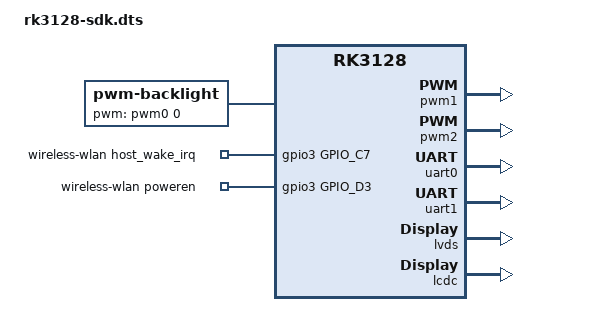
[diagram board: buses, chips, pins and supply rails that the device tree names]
/dts-v1/;

#include "rk3128.dtsi"
#include "rk3128-cif-sensor.dtsi"
#include "rk312x-sdk.dtsi"
#include "lcd-86v-rgb1024x600.dtsi"

/ {
	 compatible = "rockchip,rk3128";
        backlight: backlight {
                compatible = "pwm-backlight";
                pwms = <&pwm0 0 25000>;
                brightness-levels = <128 129 130 131 132 133 134 135 136 137 138 139 140 141 142 143 144 145 146 147 148 149 150 151 152 153 154 155 156 157 158 159 160 161 162 163 164 165 166 167 168 169 170 171 172 173 174 175 176 177 178 179 180 181 182 183 184 185 186 187 188 189 190 191 192 193 194 195 196 197 198 199 200 201 202 203 204 205 206 207 208 209 210 211 212 213 214 215 216 217 218 219 220 221 222 223 224 225 226 227 228 229 230 231 232 233 234 235 236 237 238 239 240 241 242 243 244 245 246 247 248 249 250 251 252 253 254 255>;
                default-brightness-level = <254>;
              //  enable-gpios = <&gpio0 GPIO_D2 GPIO_ACTIVE_HIGH>;
        };

	usb_control {
		compatible = "rockchip,rk3126-usb-control";

		//host_drv_gpio = <&gpio3 GPIO_C4 GPIO_ACTIVE_LOW>;
		//otg_drv_gpio = <&gpio3 GPIO_C1 GPIO_ACTIVE_LOW>;

		rockchip,remote_wakeup;
		rockchip,usb_irq_wakeup;
	};
	wireless-wlan {
		compatible = "wlan-platdata";

		/* wifi_chip_type - wifi chip define
                 * ap6210, ap6330, ap6335
                 * rtl8188eu, rtl8723bs, rtl8723bu rtl8189fs
                 * esp8089
		*/
		wifi_chip_type = "rtl8189fs";
		sdio_vref = <3300>; //1800mv or 3300mv

		//	power_ctrl_by_pmu;
		// 	pmu_regulator = "act_ldo3";
		// 	pmu_enable_level = <1>; //1->HIGH, 0->LOW
		/* WIFI_HOST_WAKE = GPIO3_C7 */
		WIFI,host_wake_irq = <&gpio3 GPIO_C7 GPIO_ACTIVE_HIGH>;
		/* WIFI_REG_ON 	= GPIO3_D3 */
		WIFI,poweren_gpio  = <&gpio3 GPIO_D3 GPIO_ACTIVE_HIGH>;

		status = "okay";
	};
	wireless-bluetooth {
		compatible = "bluetooth-platdata";

		//wifi-bt-power-toggle;

		uart_rts_gpios = <&gpio0 GPIO_C1 GPIO_ACTIVE_LOW>;
		pinctrl-names = "default","rts_gpio";
		pinctrl-0 = <&uart0_rts>;
		pinctrl-1 = <&uart0_rts_gpio>;


		/* BT_HOST_WAKE = GPIO3_C6 */
		/* BT_RST 		= GPIO3_C5 */
		/* BT_WAKE 		= GPIO3_D2 */
		//BT,power_gpio = <&gpio4 GPIO_D3 GPIO_ACTIVE_HIGH>;
		BT,reset_gpio = <&gpio3 GPIO_C5 GPIO_ACTIVE_HIGH>;
		//BT,wake_gpio = <&gpio3 GPIO_D2 GPIO_ACTIVE_HIGH>;
		BT,wake_host_irq = <&gpio3 GPIO_C6 GPIO_ACTIVE_LOW>;

		status = "disabled";
	};
	
		

	rockchip_suspend: rockchip_suspend {
                           rockchip,ctrbits = <
                           (0
                           |RKPM_CTR_PWR_DMNS
                           |RKPM_CTR_GTCLKS
                           |RKPM_CTR_PLLS
                          |RKPM_CTR_ARMOFF_LPMD
                         |RKPM_CTR_IDLESRAM_MD
                           |RKPM_CTR_DDR
                          |RKPM_CTR_VOLTS
                           |RKPM_CTR_BUS_IDLE
                   //        |RKPM_CTR_VOL_PWM1
                           )
                   >;
          rockchip,pmic-suspend_gpios = <0>;//GPIO3_C1
     };
     
	pwmleds {
		compatible = "pwm-leds";
		green_gpio = <&gpio0 GPIO_D4 GPIO_ACTIVE_HIGH>;
		blue_gpio = <&gpio0 GPIO_D3 GPIO_ACTIVE_HIGH>;
		red_gpio = <&gpio2 GPIO_D1 GPIO_ACTIVE_HIGH>;
		
	};
};



&pwm1 {
  status = "okay";
};

&pwm2 {
  status = "okay";
};

&uart0 {
        status = "okay";
        dma-names = "!tx", "!rx";
        pinctrl-0 = <&uart0_xfer>;
};

&uart1{
	status = "okay";
	dma-names = "!tx", "!rx";
	pinctrl-0 = <&uart1_xfer>;
};




&fb {
	rockchip,disp-mode = <NO_DUAL>;
	rockchip,uboot-logo-on = <1>;
};

&rk_screen {
	display-timings = <&disp_timings>;
};

&lvds {
	status = "okay";

	pinctrl-names = "lcdc";
	pinctrl-0 = <&lcdc0_lcdc_d>;
};

&lcdc {
	status = "okay";

	backlight = <&backlight>;
	pinctrl-names = "default", "gpio";
	pinctrl-0 = <&lcdc0_lcdc>;
	pinctrl-1 = <&lcdc0_gpio>;
  cs-gpio = <&gpio1 GPIO_B3 GPIO_ACTIVE_HIGH>;
  sdi-gpio = <&gpio1 GPIO_B1 GPIO_ACTIVE_HIGH>;
  scl-gpio = <&gpio1 GPIO_B0 GPIO_ACTIVE_HIGH>;
	rst-gpio = <&gpio0 GPIO_D0 GPIO_ACTIVE_HIGH>;
	
	rockchip,fb-win-map = <FB_DEFAULT_ORDER>;
	power_ctr: power_ctr {
		rockchip,debug = <1>;
		
		lcd_cs: lcd_cs {
			rockchip,power_type = <REGULATOR>;
			rockchip,regulator_name = "rk816_ldo1";
			rockchip,regulator_voltage = <2800000>;
			rockchip,delay = <10>;
		};
	
		lcd_en: lcd_en {
			rockchip,power_type = <GPIO>;
			gpios = <&gpio2 GPIO_B3 GPIO_ACTIVE_HIGH>;
			rockchip,delay = <10>;
		};	
	};
};

&hdmi {
        status = "disabled";
};


&dwc_control_usb {
	usb_uart {
		status = "disabled";
	};
};

&pinctrl {
		init-gpios = <&gpio0 GPIO_B5 1/*13 auxin_en*/
		&gpio3 GPIO_C5 1/*117 music led*/
		&gpio3 GPIO_D2 0/*122 laohu*/
		/*&gpio1 GPIO_A7 1spk*/
		&gpio1 GPIO_B1 0
		&gpio1 GPIO_B0 0
		&gpio1 GPIO_B3 0
		&gpio0 GPIO_D0 1
		&gpio2 GPIO_D1 1/*89 LED*/
		&gpio0 GPIO_D3 1/*27 LED*/
		&gpio0 GPIO_D4 1/*28 LED*/
		&gpio0 GPIO_D6 0/*30 CTL_1 CODEC*/
		&gpio1 GPIO_A3 0/* 35 CTL_2 CODEC*/
		&gpio3 GPIO_C4 1 /* 116 hp con*/
		&gpio0 GPIO_B6 GPIO_ACTIVE_HIGH>;
};


&codec {
	spk_ctl_io = <&gpio1 GPIO_A7 GPIO_ACTIVE_HIGH>;
	hp_ctl_io  = <&gpio3 GPIO_C4 GPIO_ACTIVE_HIGH>;
        spk-mute-delay = <50>;
        hp-mute-delay = <10>;
        rk312x_for_mid = <1>;
        is_rk3128 = <1>;
        spk_volume = <26>;
        hp_volume = <26>;
        capture_volume = <23>;
        gpio_debug = <1>;
        codec_hp_det = <1>;
};

&rk3128_cif_sensor{
	status = "disabled";
};


&clk_core_dvfs_table {
	operating-points = <
		/* KHz    uV */
		216000 925000
		408000 925000
		600000 950000
		696000 975000
		816000 1050000
		1008000 1250000
		1200000 1250000
	//	1296000 1350000
	//	1320000 1375000
		>;
	virt-temp-limit-1-cpu-busy = <
	/* target-temp	limit-freq */
		75	1200000
		85	1008000
		95	816000
		100	816000
		>;
	virt-temp-limit-2-cpu-busy = <
	/* target-temp	limit-freq */
		75	1200000
		85	1008000
		95	816000
		100	816000
		>;
	virt-temp-limit-3-cpu-busy = <
	/* target-temp	limit-freq */
		75	1200000
		85	1008000
		95	816000
		100	816000
		>;
	virt-temp-limit-4-cpu-busy = <
	/* target-temp	limit-freq */
		75	1200000
		85	1008000
		95	816000
		100	816000
		>;
	temp-limit-enable = <1>;
	target-temp = <85>;
	status="okay";
};

&clk_gpu_dvfs_table {
	operating-points = <
		/* KHz    uV */
		200000 1000000
		300000 1125000
		400000 1200000
		//480000 1175000
		>;
	status="okay";
};

&clk_ddr_dvfs_table {
	operating-points = <
		/* KHz    uV */
		200000 950000
		360000 1100000
		400000 1200000
		533000 1200000
		>;

	freq-table = <
		/*status		freq(KHz)*/
		SYS_STATUS_NORMAL	400000
		SYS_STATUS_SUSPEND	360000
		SYS_STATUS_VIDEO_1080P  400000
		//SYS_STATUS_VIDEO_4K     400000
		SYS_STATUS_PERFORMANCE  400000
		SYS_STATUS_DUALVIEW	400000
		SYS_STATUS_BOOST	400000
		SYS_STATUS_ISP		400000
		>;
	auto-freq-table = <
		240000
		324000
		396000
		528000
		>;
	auto-freq=<0>;
	status="okay";
};
